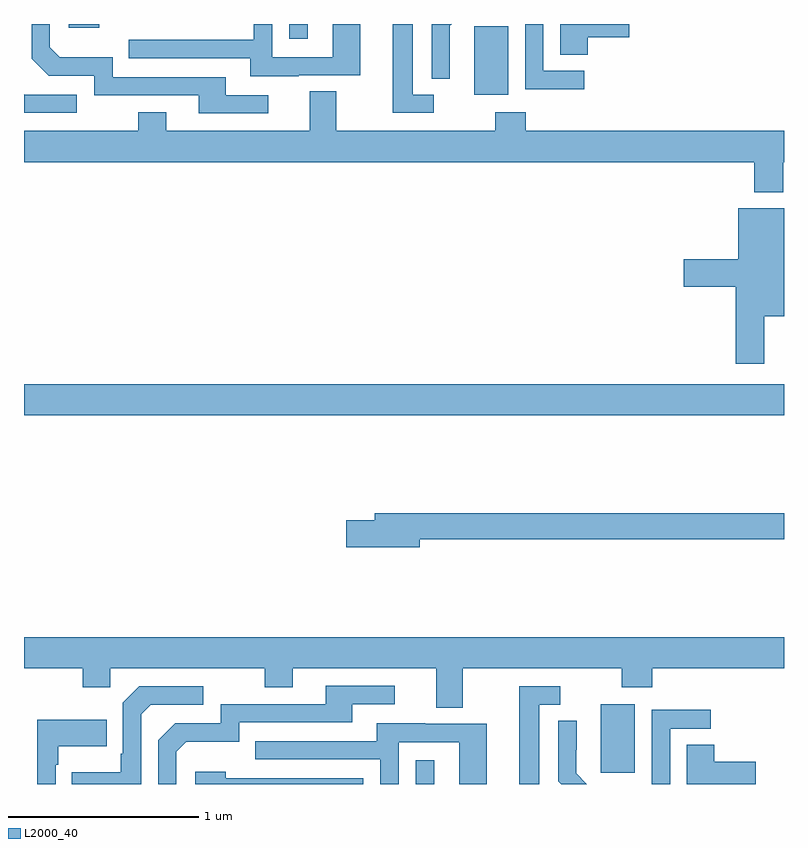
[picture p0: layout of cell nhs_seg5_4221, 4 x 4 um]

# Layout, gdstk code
import gdstk
lib = gdstk.Library(unit=1e-6, precision=1e-09)
def R(c, l, rs):  # rectangles x0, y0, x1, y1
    for r in rs: c.add(gdstk.rectangle(r[:2], r[2:], *l))
def P(c, l, *ps):  # polygons
    for p in ps: c.add(gdstk.Polygon(p, *l))
L2000_40 = (2000, 40)

nhs_seg5_4221 = lib.new_cell('nhs_seg5_4221')
R(nhs_seg5_4221, L2000_40, [(361.062,874.799,361.159,874.924), (362.036,874.857,362.215,875.218), (359,876.74,363,876.904), (361.37,878.426,361.549,878.787), (360.396,878.721,360.493,878.799), (359.235,878.78,359.396,878.799)])
P(nhs_seg5_4221, L2000_40, [(360.445,878.529),(360.769,878.529),(360.769,878.799),(360.624,878.799),(360.624,878.625),(360.306,878.625),(360.306,878.799),(360.21,878.799),(360.21,878.715),(359.551,878.715),(359.551,878.619),(360.191,878.619),(360.191,878.525),(360.445,878.525)],
  [(361.967,878.729),(362.185,878.729),(362.185,878.799),(361.823,878.799),(361.823,878.638),(361.967,878.638)],
  [(360.286,878.424),(360.061,878.424),(360.061,878.52),(359.466,878.52),(359.466,878.623),(359.189,878.623),(359.136,878.676),(359.136,878.799),(359.04,878.799),(359.04,878.616),(359.13,878.526),(359.37,878.526),(359.37,878.424),(359.921,878.424),(359.921,878.328),(360.286,878.328)],
  [(361.156,878.427),(361.045,878.427),(361.045,878.799),(360.941,878.799),(360.941,878.331),(361.156,878.331)],
  [(361.948,878.553),(361.734,878.553),(361.734,878.799),(361.638,878.799),(361.638,878.455),(361.948,878.455)],
  [(361.242,878.666),(361.241,878.666),(361.241,878.789),(361.251,878.799),(361.146,878.799),(361.146,878.512),(361.242,878.512)],
  [(362.995,878.072),(363,878.072),(363,878.236),(361.64,878.236),(361.64,878.335),(361.48,878.335),(361.48,878.236),(360.643,878.236),(360.643,878.444),(360.503,878.444),(360.503,878.236),(359.749,878.236),(359.749,878.335),(359.602,878.335),(359.602,878.236),(359,878.236),(359,878.072),(362.843,878.072),(362.843,877.913),(362.995,877.913)],
  [(359.278,878.427),(359.001,878.427),(359,878.428),(359,878.331),(359.278,878.331)],
  [(362.896,877.262),(363,877.262),(363,877.828),(362.759,877.828),(362.759,877.562),(362.472,877.562),(362.472,877.415),(362.747,877.415),(362.747,877.011),(362.896,877.011)],
  [(361.084,876.088),(363,876.088),(363,876.224),(360.845,876.224),(360.845,876.188),(360.696,876.188),(360.696,876.046),(361.084,876.046)],
  [(361.309,875.408),(362.146,875.408),(362.146,875.309),(362.306,875.309),(362.306,875.408),(363,875.408),(363,875.572),(359,875.572),(359,875.408),(359.308,875.408),(359.308,875.309),(359.454,875.309),(359.454,875.408),(360.268,875.408),(360.268,875.309),(360.415,875.309),(360.415,875.408),(361.169,875.408),(361.169,875.2),(361.309,875.2)],
  [(359.802,874.968),(359.855,875.021),(360.132,875.021),(360.132,875.124),(360.727,875.124),(360.727,875.22),(360.952,875.22),(360.952,875.316),(360.587,875.316),(360.587,875.22),(360.036,875.22),(360.036,875.118),(359.796,875.118),(359.706,875.028),(359.706,874.799),(359.802,874.799)],
  [(361.711,875.217),(361.822,875.217),(361.822,875.313),(361.607,875.313),(361.607,874.799),(361.711,874.799)],
  [(359.616,875.166),(359.667,875.217),(359.944,875.217),(359.944,875.313),(359.607,875.313),(359.52,875.226),(359.52,874.957),(359.508,874.957),(359.508,874.861),(359.251,874.861),(359.251,874.799),(359.616,874.799)],
  [(362.4,875.091),(362.614,875.091),(362.614,875.19),(362.304,875.19),(362.304,874.799),(362.4,874.799)],
  [(359.166,874.901),(359.179,874.901),(359.179,874.997),(359.435,874.997),(359.435,875.137),(359.069,875.137),(359.069,874.799),(359.166,874.799)],
  [(361.907,874.856),(361.907,874.978),(361.908,874.978),(361.908,875.132),(361.812,875.132),(361.812,874.814),(361.827,874.799),(361.963,874.799)],
  [(360.972,875.019),(361.29,875.019),(361.29,874.799),(361.435,874.799),(361.435,875.115),(361.111,875.115),(361.111,875.119),(360.857,875.119),(360.857,875.025),(360.217,875.025),(360.217,874.929),(360.876,874.929),(360.876,874.799),(360.972,874.799)],
  [(362.851,874.916),(362.633,874.916),(362.633,875.006),(362.489,875.006),(362.489,874.799),(362.851,874.799)],
  [(360.786,874.83),(360.062,874.83),(360.062,874.864),(359.901,874.864),(359.901,874.799),(360.786,874.799)])

lib.write_gds('nhs_seg5_4221.gds')
